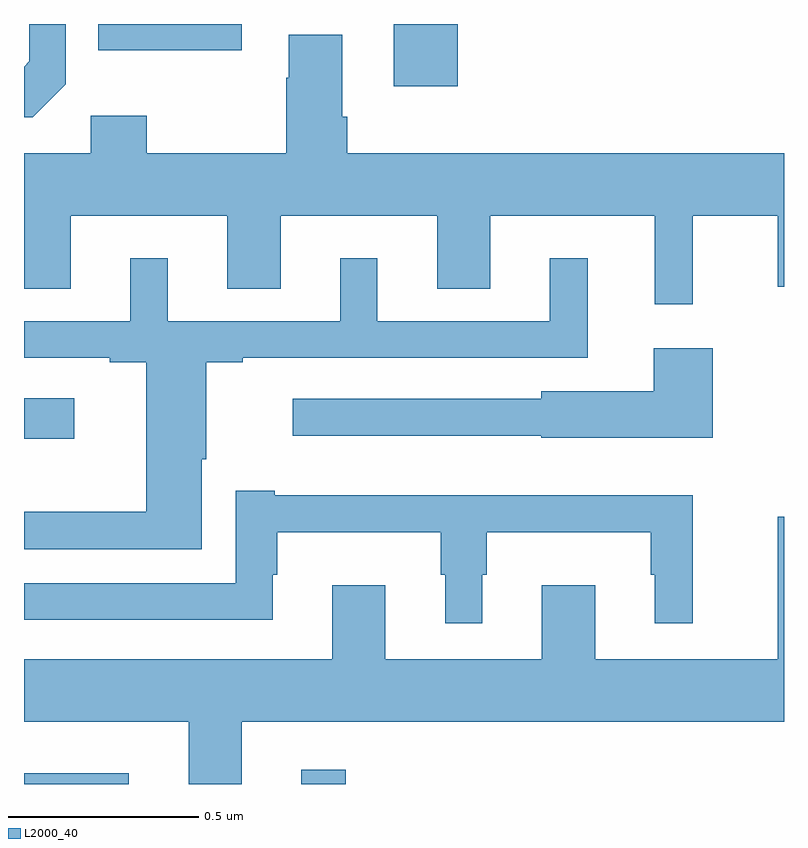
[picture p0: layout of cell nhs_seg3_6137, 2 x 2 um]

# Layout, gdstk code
import gdstk
lib = gdstk.Library(unit=1e-6, precision=1e-09)
def R(c, l, rs):  # rectangles x0, y0, x1, y1
    for r in rs: c.add(gdstk.rectangle(r[:2], r[2:], *l))
def P(c, l, *ps):  # polygons
    for p in ps: c.add(gdstk.Polygon(p, *l))
L2000_40 = (2000, 40)

nhs_seg3_6137 = lib.new_cell('nhs_seg3_6137')
R(nhs_seg3_6137, L2000_40, [(187,719.4,187.276,719.428), (187.73,719.4,187.847,719.437), (187,720.308,187.132,720.415), (187.973,721.236,188.141,721.4), (187.195,721.331,187.573,721.4)])
P(nhs_seg3_6137, L2000_40, [(187.11,721.242),(187.11,721.4),(187.014,721.4),(187.014,721.302),(187,721.288),(187,721.155),(187.023,721.155)],
  [(188.76,720.896),(188.984,720.896),(188.984,720.708),(189,720.708),(189,721.06),(187.85,721.06),(187.85,721.156),(187.837,721.156),(187.837,721.372),(187.697,721.372),(187.697,721.259),(187.69,721.259),(187.69,721.06),(187.323,721.06),(187.323,721.159),(187.176,721.159),(187.176,721.06),(187,721.06),(187,720.703),(187.123,720.703),(187.123,720.896),(187.535,720.896),(187.535,720.703),(187.675,720.703),(187.675,720.896),(188.087,720.896),(188.087,720.703),(188.227,720.703),(188.227,720.896),(188.66,720.896),(188.66,720.663),(188.76,720.663)],
  [(187.468,720.255),(187.48,720.255),(187.48,720.51),(187.576,720.51),(187.576,720.522),(188.483,720.522),(188.483,720.784),(188.384,720.784),(188.384,720.618),(187.93,720.618),(187.93,720.784),(187.832,720.784),(187.832,720.618),(187.378,720.618),(187.378,720.784),(187.28,720.784),(187.28,720.618),(187,720.618),(187,720.522),(187.226,720.522),(187.226,720.51),(187.322,720.51),(187.322,720.116),(187,720.116),(187,720.018),(187.468,720.018)],
  [(188.813,720.547),(188.657,720.547),(188.657,720.433),(188.361,720.433),(188.361,720.414),(187.707,720.414),(187.707,720.317),(188.361,720.317),(188.361,720.311),(188.813,720.311)],
  [(188.206,719.951),(188.218,719.951),(188.218,720.062),(188.649,720.062),(188.649,719.951),(188.66,719.951),(188.66,719.823),(188.76,719.823),(188.76,720.16),(187.66,720.16),(187.66,720.172),(187.557,720.172),(187.557,719.928),(187,719.928),(187,719.832),(187.654,719.832),(187.654,719.951),(187.666,719.951),(187.666,720.062),(188.097,720.062),(188.097,719.951),(188.108,719.951),(188.108,719.823),(188.206,719.823)],
  [(187.573,719.564),(189,719.564),(189,720.103),(188.984,720.103),(188.984,719.728),(188.503,719.728),(188.503,719.923),(188.363,719.923),(188.363,719.728),(187.951,719.728),(187.951,719.923),(187.811,719.923),(187.811,719.728),(187,719.728),(187,719.564),(187.433,719.564),(187.433,719.4),(187.573,719.4)])

lib.write_gds('nhs_seg3_6137.gds')
